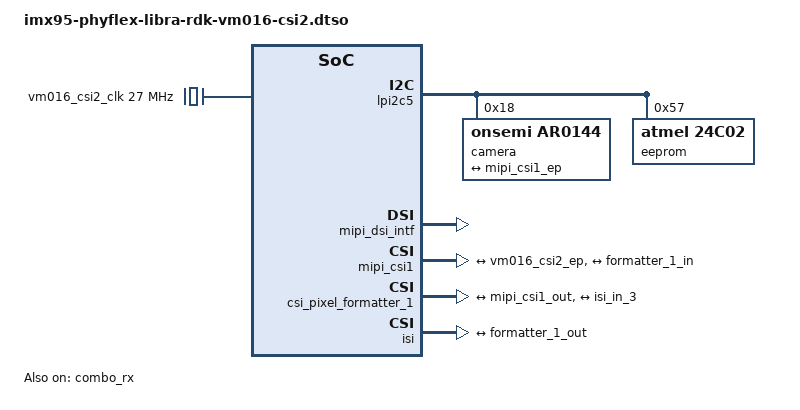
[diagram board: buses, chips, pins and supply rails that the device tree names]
// SPDX-License-Identifier: (GPL-2.0+ OR MIT)
/*
 * Copyright (C) 2025 PHYTEC Messtechnik GmbH
 * Author: Stefan Riedmüller <s.riedmueller@phytec.de>
 */

/dts-v1/;
/plugin/;

#include <dt-bindings/media/video-interfaces.h>

&{/} {
	vm016_csi2_clk: vm016-csi2-ext-clk {
		#clock-cells = <0>;
		compatible = "fixed-clock";
		clock-frequency = <27000000>;
	};
};

&lpi2c5 {
	#address-cells = <1>;
	#size-cells = <0>;
	status = "okay";

	camera@18 {
		#address-cells = <0x1>;
		#size-cells = <0x0>;

		compatible = "onsemi,ar0144";
		reg = <0x18>;
		clocks = <&vm016_csi2_clk>;
		clock-names = "ext";
		orientation = <2>;
		rotation = <0>;

		port@0 {
			reg = <0>;

			vm016_csi2_ep: endpoint {
				remote-endpoint = <&mipi_csi1_ep>;
				bus-type = <MEDIA_BUS_TYPE_CSI2_DPHY>;
				link-frequencies = /bits/ 64 <222750000>;
				data-lanes = <1 2>;
				clock-lanes = <0>;
				clock-noncontinuous = <1>;
				onsemi,t-hs-prep = <1>;
				onsemi,t-clk-post = <9>;
			};
		};
	};

	eeprom@57 {
		compatible = "atmel,24c02";
		reg = <0x57>;
		pagesize = <16>;
	};
};

&display_stream_csr {
	status = "disabled";
};

&display_master_csr {
	status = "disabled";
};

&mipi_tx_phy_csr {
	status = "disabled";
};

&mipi_dsi_intf {
	status = "okay";
};

&combo_rx {
	status = "okay";
};

&mipi_csi1 {
	status = "okay";

	ports {
		#address-cells = <1>;
		#size-cells = <0>;

		port@0 {
			reg = <0>;
			mipi_csi1_ep: endpoint {
				remote-endpoint = <&vm016_csi2_ep>;
				data-lanes = <1 2>;
				clock-lanes = <0>;
			};
		};

		port@1 {
			reg = <1>;
				mipi_csi1_out: endpoint {
				remote-endpoint = <&formatter_1_in>;
			};
		};
	};
};

&csi_pixel_formatter_1 {
	status = "okay";

	ports {
		#address-cells = <1>;
		#size-cells = <0>;

		port@0 {
			reg = <0>;

			formatter_1_in: endpoint {
				remote-endpoint = <&mipi_csi1_out>;
			};
		};

		port@1 {
			reg = <1>;

			formatter_1_out: endpoint {
				remote-endpoint = <&isi_in_3>;
			};
		};
	};
};

&isi {
	status = "okay";
	dma-coherent;

	ports {
		#address-cells = <1>;
		#size-cells = <0>;

		port@3 {
			reg = <3>;

			isi_in_3: endpoint {
				remote-endpoint = <&formatter_1_out>;
			};
		};
	};
};
